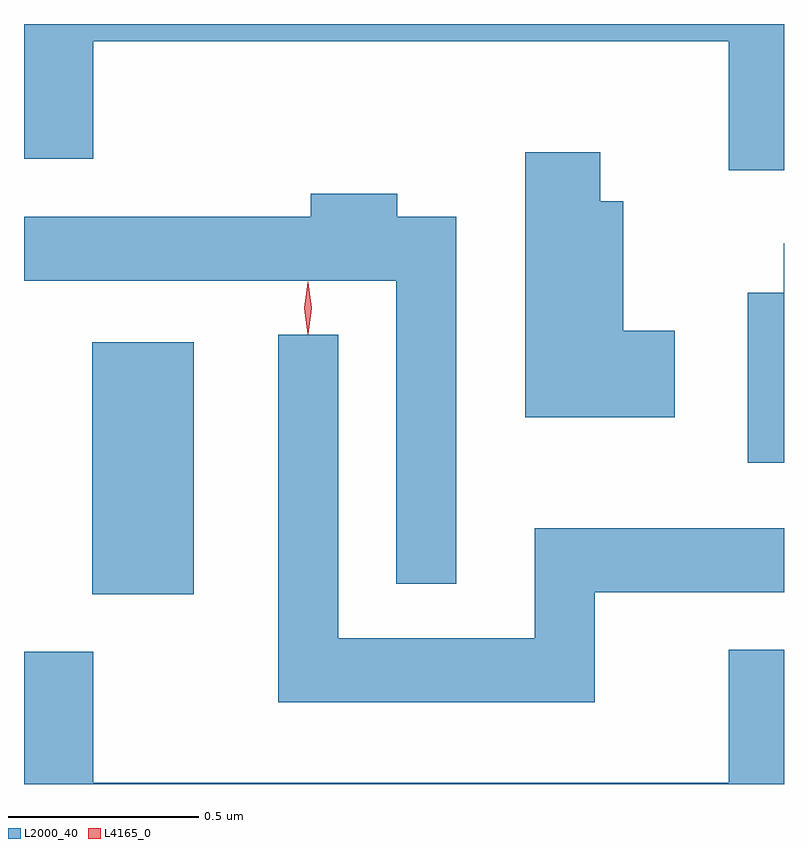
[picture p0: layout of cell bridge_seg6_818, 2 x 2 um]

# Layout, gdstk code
import gdstk
lib = gdstk.Library(unit=1e-6, precision=1e-09)
def R(c, l, rs):  # rectangles x0, y0, x1, y1
    for r in rs: c.add(gdstk.rectangle(r[:2], r[2:], *l))
def P(c, l, *ps):  # polygons
    for p in ps: c.add(gdstk.Polygon(p, *l))
L2000_40 = (2000, 40)
L4165_0 = (4165, 0)

bridge_seg6_818 = lib.new_cell('bridge_seg6_818')
R(bridge_seg6_818, L2000_40, [(487.216,1546.361,487.484,1547.024)])
P(bridge_seg6_818, L2000_40, [(489.037,1547.861),(487.037,1547.861),(487.037,1547.506),(487.219,1547.506),(487.219,1547.816),(488.891,1547.816),(488.891,1547.476),(489.037,1547.476)],
  [(488.749,1547.054),(488.614,1547.054),(488.614,1547.394),(488.554,1547.394),(488.554,1547.524),(488.356,1547.524),(488.356,1546.826),(488.749,1546.826)],
  [(488.174,1547.354),(488.019,1547.354),(488.019,1547.414),(487.791,1547.414),(487.791,1547.354),(487.037,1547.354),(487.037,1547.186),(488.016,1547.186),(488.016,1546.388),(488.174,1546.388)],
  [(489.037,1547.284),(489.036,1547.284),(489.036,1547.154),(488.941,1547.154),(488.941,1546.706),(489.037,1546.706)],
  [(488.539,1546.366),(489.037,1546.366),(489.037,1546.534),(488.381,1546.534),(488.381,1546.244),(487.864,1546.244),(487.864,1547.043),(487.706,1547.043),(487.706,1546.076),(488.539,1546.076)],
  [(489.037,1546.214),(488.891,1546.214),(488.891,1545.864),(487.219,1545.864),(487.219,1546.209),(487.037,1546.209),(487.037,1545.861),(489.037,1545.861)])
P(bridge_seg6_818, L4165_0, [(487.784,1547.044),(487.784,1547.044),(487.774,1547.113),(487.784,1547.182),(487.784,1547.183),(487.785,1547.182),(487.794,1547.113),(487.785,1547.044)],
  [(487.784,1547.047),(487.784,1547.048),(487.774,1547.114),(487.784,1547.18),(487.784,1547.18),(487.785,1547.18),(487.794,1547.114),(487.785,1547.048)])

lib.write_gds('bridge_seg6_818.gds')
